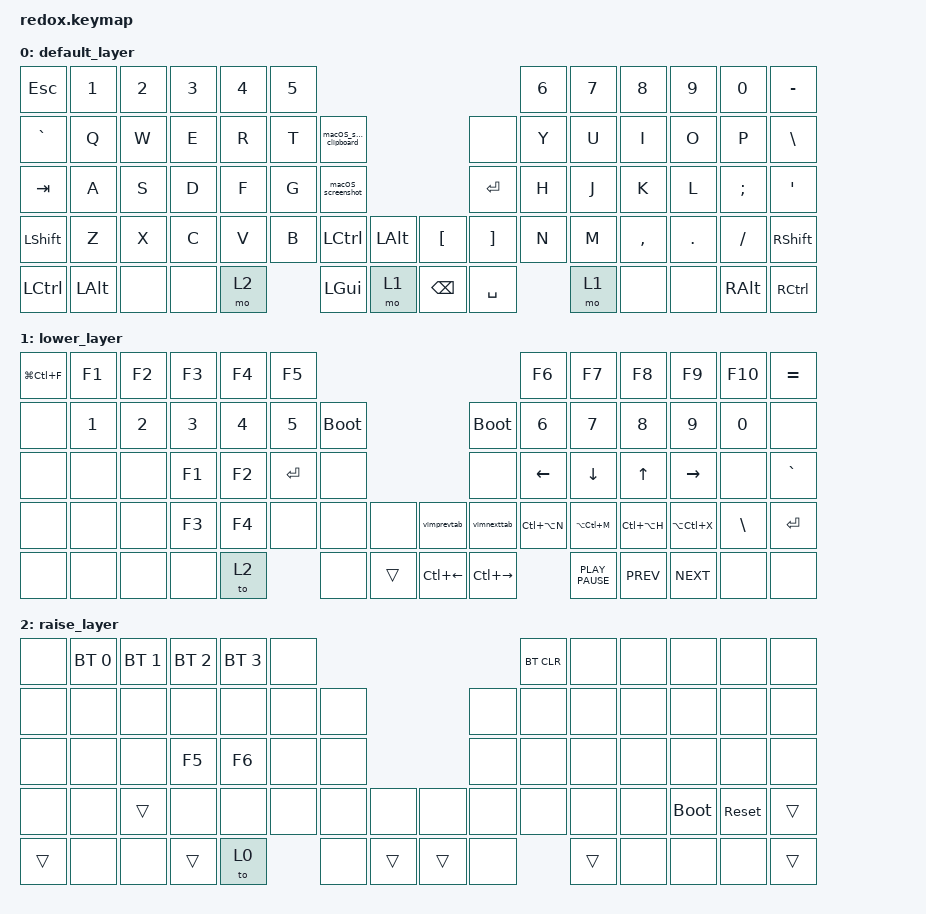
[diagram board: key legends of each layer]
/*
 * TEST KEYMAP — for identifying key positions in Keymap Editor
 *
 * Press each physical key in a text editor and note the character it outputs.
 * Find that character in the chart below — that's the matching box in the UI.
 * The LOWER key does not output a character (it activates the LOWER layer).
 * Use LOWER+Z for left half bootloader, LOWER+bootloader key for right half.
 *
 * .-----------------------------------------------------------------------.
 * | 1  | 2  | 3  | 4  | 5  | 6  | 7  | 8  | 9  | 0  | a  | b  | c  | d  |
 * | e  | f  | g  | h  | i  | j  | k  | l  | m  | n  | o  | p  | q  | r  |
 * | s  | t  | u  | v  | w  | x  | y  | z  | -  | =  | [  | ]  | \  | ;  |
 * | '  | `  | ,  | .  | /  | !  | @  | #  | $  | %  | ^  | &  | *  | (  |
 * | )  | _  | +  | {  | }  | |  |LWR | :  | "  | ~  | <  | >  | ?  |TAB |
 * .-----------------------------------------------------------------------.
 */

#include <behaviors.dtsi>
#include <dt-bindings/zmk/bt.h>
#include <dt-bindings/zmk/keys.h>

#define DEFAULT 0
#define LOWER   1
#define RAISE   2

/ {
    macros {
        vimnexttab: vimnexttab {
            compatible = "zmk,behavior-macro";
            #binding-cells = <0>;
            bindings = <&kp G &kp T>;
            label = "VIMNEXTTAB";
        };

        vimprevtab: vimprevtab {
            compatible = "zmk,behavior-macro";
            #binding-cells = <0>;
            bindings = <&kp G &kp LS(T)>;
            label = "VIMPREVTAB";
        };

        macOS_screenshot_clipboard: macOS_screenshot_window {
            compatible = "zmk,behavior-macro";
            #binding-cells = <0>;
            bindings = <&kp LG(LS(LC(NUMBER_4)))>;
            label = "MACOS_SCREENSHOT_WINDOW";
        };

        macOS_screenshot: macOS_screenshot {
            compatible = "zmk,behavior-macro";
            #binding-cells = <0>;
            bindings = <&kp LG(LS(NUMBER_4))>;
            label = "MACOS_SCREENSHOT";
        };
    };

    keymap {
        compatible = "zmk,keymap";

        default_layer {
            bindings = <
&kp ESCAPE      &kp NUMBER_1  &kp NUMBER_2  &kp NUMBER_3  &kp NUMBER_4  &kp N5                                                                                    &kp NUMBER_6  &kp N7  &kp N8     &kp N9      &kp N0         &kp MINUS
&kp GRAVE       &kp Q         &kp W         &kp E         &kp R         &kp T   &macOS_screenshot_clipboard                                    &none              &kp Y         &kp U   &kp I      &kp O       &kp P          &kp BACKSLASH
&kp TAB         &kp A         &kp S         &kp D         &kp F         &kp G   &macOS_screenshot                                              &kp ENTER          &kp H         &kp J   &kp K      &kp L       &kp SEMICOLON  &kp SQT
&kp LEFT_SHIFT  &kp Z         &kp X         &kp C         &kp V         &kp B   &kp LCTRL                    &kp LEFT_ALT    &kp LEFT_BRACKET  &kp RIGHT_BRACKET  &kp N         &kp M   &kp COMMA  &kp PERIOD  &kp SLASH      &kp RIGHT_SHIFT
&kp LCTRL       &kp LEFT_ALT  &none         &none         &mo 2                 &kp LEFT_GUI                 &mo 1           &kp BACKSPACE     &kp SPACE                        &mo 1   &none      &none       &kp RALT       &kp RCTRL
            >;
        };

        lower_layer {
            bindings = <
&kp LG(LC(F))  &kp F1        &kp F2        &kp F3        &kp F4        &kp F5                                                         &kp F6         &kp F7            &kp F8         &kp F9         &kp F10        &kp EQUAL
&none          &kp NUMBER_1  &kp NUMBER_2  &kp NUMBER_3  &kp NUMBER_4  &kp N5     &bootloader                          &bootloader    &kp NUMBER_6   &kp NUMBER_7      &kp N8         &kp N9         &kp N0         &none
&none          &none         &none         &kp F1        &kp F2        &kp ENTER  &none                                &none          &kp LEFT       &kp DOWN          &kp UP_ARROW   &kp RIGHT      &none          &kp GRAVE
&none          &none         &none         &kp F3        &kp F4        &none      &none        &none     &vimprevtab   &vimnexttab    &kp LC(LA(N))  &kp LA(LC(M))     &kp LC(LA(H))  &kp LA(LC(X))  &kp BACKSLASH  &kp ENTER
&none          &none         &none         &none         &to 2                    &none        &trans    &kp LC(LEFT)  &kp LC(RIGHT)                 &kp K_PLAY_PAUSE  &kp K_PREV     &kp K_NEXT     &none          &none
            >;
        };

        raise_layer {
            bindings = <
&none   &bt BT_SEL 0  &bt BT_SEL 1  &bt BT_SEL 2  &bt BT_SEL 3  &none                                  &bt BT_CLR  &none   &none  &none        &none       &none
&none   &none         &none         &none         &none         &none  &none                    &none  &none       &none   &none  &none        &none       &none
&none   &none         &none         &kp F5        &kp F6        &none  &none                    &none  &none       &none   &none  &none        &none       &none
&none   &none         &trans        &none         &none         &none  &none  &none     &none   &none  &none       &none   &none  &bootloader  &sys_reset  &trans
&trans  &none         &none         &trans        &to 0                &none  &trans    &trans  &none              &trans  &none  &none        &none       &trans
            >;
        };
    };
};
